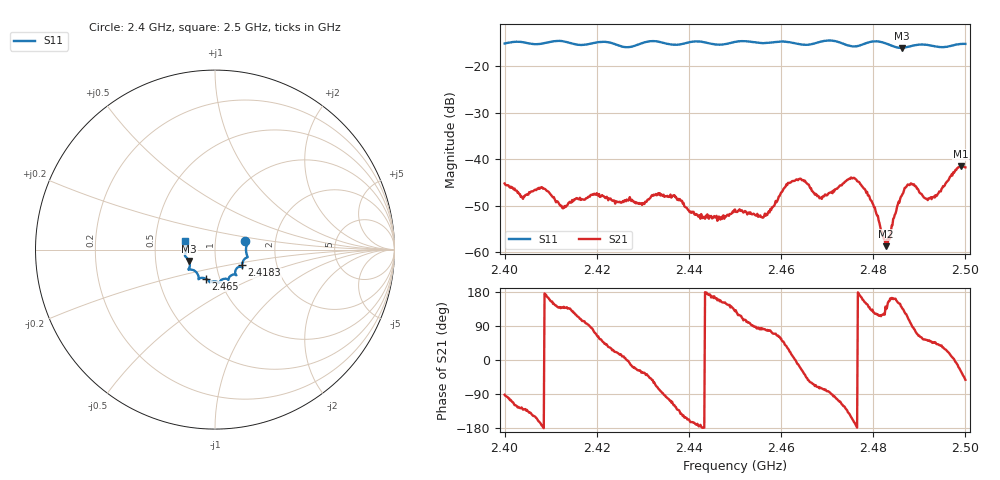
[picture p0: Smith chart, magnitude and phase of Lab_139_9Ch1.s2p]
# Hz S RI R 50
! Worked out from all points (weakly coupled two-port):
!   601 points, 2.4 GHz to 2.5 GHz, reference 50 ohm
!   highest |S21| = -41.51 dB at 2.499 GHz (marker M1); lowest = -58.7 dB at 2.4828 GHz (marker M2)
!   lowest |S11| = -16.1 dB at 2.4862 GHz (marker M3), VSWR 1.37, Z = 37.1 - j4.8 ohm
!   |S11| at or under -10 dB: start of sweep to end of sweep
!   S12 and S22 are empty: the file has one direction only
!   S11 on the Smith chart (normalised r, x): 2.4 GHz: 1.40, +0.13; 2.4183 GHz: 1.33, -0.24; 2.465 GHz: 0.86, -0.29; 2.5 GHz: 0.71, +0.07
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2.4e9  0.1693 0.0458  -0.000174 -0.00548  0 0  0 0
2.404e9  0.1786 0.0275  -0.00247 -0.00283  0 0  0 0
2.408333e9  0.175 -0.0197  -0.00482 -0.000219  0 0  0 0
2.4125e9  0.1809 -0.0428  -0.00224 0.002  0 0  0 0
2.416667e9  0.1547 -0.0679  -0.000989 0.00361  0 0  0 0
2.418333e9  0.1498 -0.0869  -8.05e-05 0.00397  0 0  0 0
2.433333e9  0.1175 -0.141  0.0011 -0.00417  0 0  0 0
2.443e9  0.0726 -0.1671  -0.00233 -3.93e-05  0 0  0 0
2.45e9  0.0252 -0.1807  -0.0018 0.00225  0 0  0 0
2.4565e9  -0.00498 -0.177  0.000396 0.00258  0 0  0 0
2.461333e9  -0.0308 -0.1797  0.00445 0.00284  0 0  0 0
2.465e9  -0.0524 -0.1617  0.00465 -0.00345  0 0  0 0
2.466667e9  -0.0714 -0.1572  0.00226 -0.00398  0 0  0 0
2.476167e9  -0.112 -0.1189  -0.00603 -0.00102  0 0  0 0
2.4795e9  -0.1454 -0.1111  -0.00244 0.00266  0 0  0 0
2.482833e9  -0.143 -0.101  -0.000813 0.000831  0 0  0 0
2.483333e9  -0.1416 -0.0964  -0.00132 0.000625  0 0  0 0
2.486167e9  -0.144 -0.063  -0.00307 0.00262  0 0  0 0
2.488333e9  -0.1592 -0.0443  -0.000172 0.00546  0 0  0 0
2.493167e9  -0.1634 -0.0183  0.0027 0.00292  0 0  0 0
2.499e9  -0.1682 0.0424  0.00732 -0.00413  0 0  0 0
2.5e9  -0.1672 0.0469  0.00499 -0.00647  0 0  0 0
